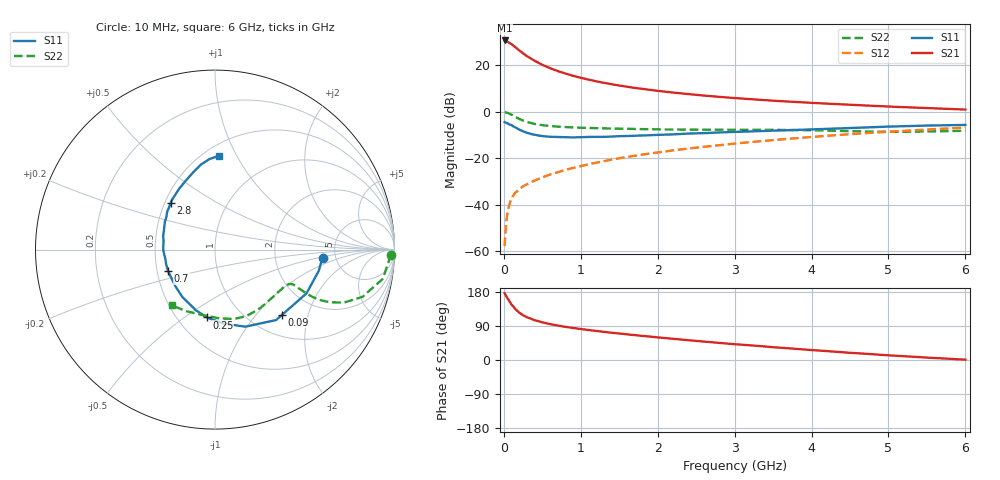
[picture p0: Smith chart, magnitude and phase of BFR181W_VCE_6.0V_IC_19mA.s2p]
! Infineon Technologies  Discrete & RF Semiconductors
! BFR181W
! VCE =  6.0 V,  IC =  19 mA
! Common Emitter S-Parameters:  Jan 2017
# GHz  S  MA  R  50
!  f  S11  S21  S12  S22
! GHz  MAG  ANG  MAG  ANG  MAG  ANG  MAG  ANG
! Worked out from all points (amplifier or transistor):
!   77 points, 10 MHz to 6 GHz, reference 50 ohm
!   highest |S21| = 30.6 dB at 10 MHz (marker M1)
!   |S21| within 3 dB of that: start of sweep to 153.7 MHz
!   unconditionally stable (mu >= 1): 714 MHz to 2.586 GHz
!   at 130 MHz: K = 0.40, MSG = 31.9 dB, |S12| = -35.7 dB
!   at 2.2 GHz: K = 1.03, MAG = 11.3 dB, |S12| = -16.6 dB
!   at 6 GHz: K = 0.83, MSG = 3.9 dB, |S12| = -6.8 dB
!   S11 on the Smith chart (normalised r, x): 10 MHz: 3.94, -0.54; 90 MHz: 1.39, -1.39; 250 MHz: 0.69, -0.61; 700 MHz: 0.57, -0.15; 2.8 GHz: 0.54, +0.32; 6 GHz: 0.59, +0.85
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0.01  0.6012 -4.2  33.96 176.3  0.0013 90.4  0.9807 -1.7
0.02  0.59 -11.6  33.47 172.1  0.0025 95.8  0.9712 -3.7
0.05  0.5651 -25.6  32.02 161.8  0.0072 79.5  0.948 -10.0
0.09  0.5212 -44.1  28.83 149.5  0.0126 74.5  0.8791 -16.0
0.1  0.5195 -49.1  28.27 146.1  0.0139 73.8  0.8636 -17.7
0.15  0.4612 -68.6  24.32 134.3  0.0183 66.9  0.7755 -22.4
0.2  0.4144 -83.7  20.74 125.0  0.0215 65.9  0.7017 -24.7
0.25  0.3807 -96.9  17.93 118.1  0.0252 63.9  0.6463 -25.7
0.3  0.3538 -107.7  15.63 112.8  0.0277 63.9  0.603 -25.9
0.4  0.3207 -124.4  12.4 104.9  0.0333 66.4  0.548 -25.4
0.5  0.3007 -137.2  10.18 99.3  0.039 66.8  0.5147 -24.8
0.6  0.2901 -147.3  8.644 94.7  0.0449 67.8  0.4938 -24.3
0.7  0.2871 -155.6  7.487 90.9  0.0502 70.6  0.4797 -24.1
0.9  0.2813 -169.1  5.911 84.5  0.0622 71.2  0.4609 -24.6
1.1  0.288 -179.3  4.904 79.2  0.0744 72.0  0.4496 -25.7
1.5  0.2991 165.2  3.66 69.9  0.1004 72.7  0.433 -29.8
2.1  0.3227 148.4  2.697 57.9  0.1408 71.1  0.4175 -38.9
2.8  0.3595 133.3  2.088 45.1  0.1913 67.9  0.4114 -52.0
3.1  0.3732 127.7  1.919 40.3  0.2147 66.0  0.4093 -57.6
4.1  0.4234 111.3  1.524 24.9  0.2956 58.5  0.3966 -76.6
5.1  0.4847 98.2  1.274 11.2  0.3805 49.4  0.3708 -102.7
6  0.5221 87.8  1.115 0.9  0.4576 40.2  0.3931 -127.8
